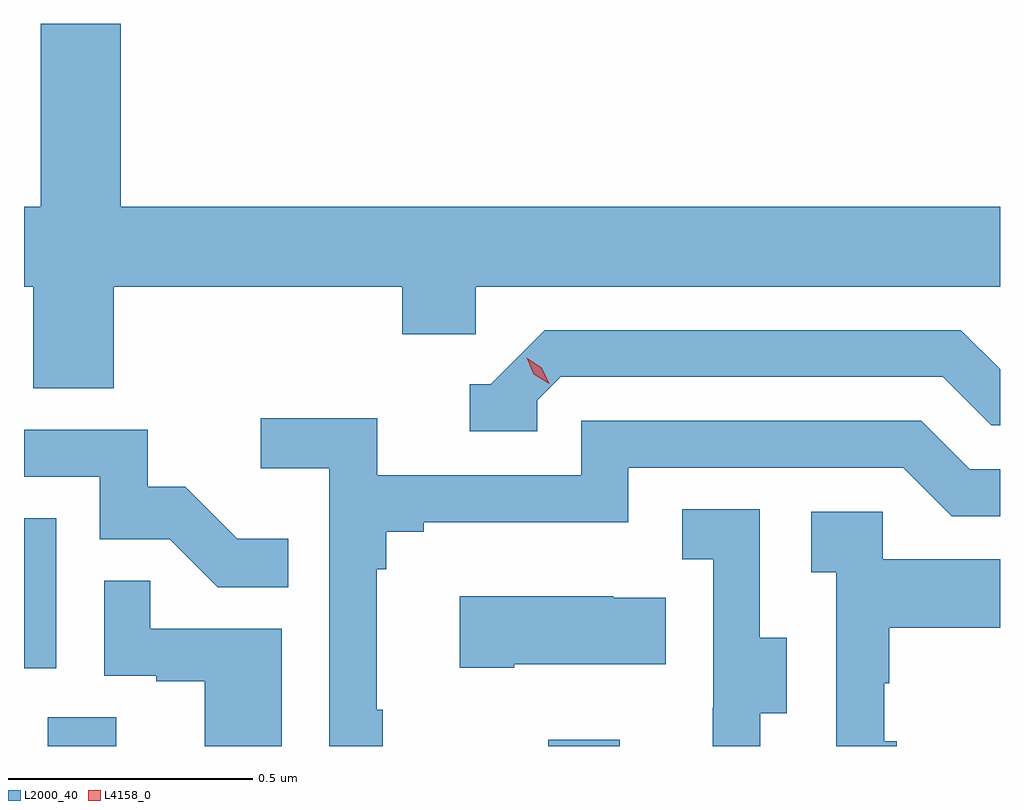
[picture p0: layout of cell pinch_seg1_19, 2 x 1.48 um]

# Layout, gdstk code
import gdstk
lib = gdstk.Library(unit=1e-6, precision=1e-09)
def R(c, l, rs):  # rectangles x0, y0, x1, y1
    for r in rs: c.add(gdstk.rectangle(r[:2], r[2:], *l))
def P(c, l, *ps):  # polygons
    for p in ps: c.add(gdstk.Polygon(p, *l))
L2000_40 = (2000, 40)
L4158_0 = (4158, 0)

pinch_seg1_19 = lib.new_cell('pinch_seg1_19')
R(pinch_seg1_19, L2000_40, [(1142.045,574.766,1142.185,574.826), (1143.07,574.766,1143.217,574.78), (1141.996,574.926,1142.062,575.233)])
P(pinch_seg1_19, L2000_40, [(1142.18,575.708),(1142.771,575.708),(1142.771,575.61),(1142.922,575.61),(1142.922,575.708),(1143.996,575.708),(1143.996,575.872),(1142.194,575.872),(1142.194,576.247),(1142.03,576.247),(1142.03,575.872),(1141.996,575.872),(1141.996,575.708),(1142.015,575.708),(1142.015,575.5),(1142.18,575.5)],
  [(1143.048,575.475),(1143.096,575.523),(1143.879,575.523),(1143.978,575.424),(1143.996,575.424),(1143.996,575.539),(1143.916,575.619),(1143.063,575.619),(1142.952,575.508),(1142.909,575.508),(1142.909,575.412),(1143.048,575.412)],
  [(1142.731,574.841),(1142.719,574.841),(1142.719,575.129),(1142.738,575.129),(1142.738,575.206),(1142.815,575.206),(1142.815,575.225),(1143.234,575.225),(1143.234,575.337),(1143.798,575.337),(1143.897,575.238),(1143.996,575.238),(1143.996,575.334),(1143.934,575.334),(1143.835,575.433),(1143.138,575.433),(1143.138,575.322),(1142.72,575.322),(1142.72,575.438),(1142.481,575.438),(1142.481,575.336),(1142.622,575.336),(1142.622,574.766),(1142.731,574.766)],
  [(1142.537,575.191),(1142.433,575.191),(1142.326,575.298),(1142.25,575.298),(1142.25,575.415),(1141.996,575.415),(1141.996,575.319),(1142.151,575.319),(1142.151,575.19),(1142.295,575.19),(1142.393,575.092),(1142.537,575.092)],
  [(1143.505,574.834),(1143.559,574.834),(1143.559,574.989),(1143.504,574.989),(1143.504,575.252),(1143.345,575.252),(1143.345,575.149),(1143.408,575.149),(1143.408,574.845),(1143.407,574.845),(1143.407,574.766),(1143.505,574.766)],
  [(1143.784,574.776),(1143.759,574.776),(1143.759,574.895),(1143.769,574.895),(1143.769,575.009),(1143.996,575.009),(1143.996,575.149),(1143.756,575.149),(1143.756,575.247),(1143.609,575.247),(1143.609,575.123),(1143.66,575.123),(1143.66,574.766),(1143.784,574.766)],
  [(1142.524,575.007),(1142.255,575.007),(1142.255,575.105),(1142.16,575.105),(1142.16,574.911),(1142.267,574.911),(1142.267,574.899),(1142.366,574.899),(1142.366,574.766),(1142.524,574.766)],
  [(1143.001,574.934),(1143.311,574.934),(1143.311,575.071),(1143.203,575.071),(1143.203,575.074),(1142.889,575.074),(1142.889,574.927),(1143.001,574.927)])
P(pinch_seg1_19, L4158_0, [(1143.072,575.509),(1143.041,575.529),(1143.026,575.562),(1143.026,575.562),(1143.026,575.562),(1143.057,575.542),(1143.072,575.509),(1143.072,575.509)])

lib.write_gds('pinch_seg1_19.gds')
